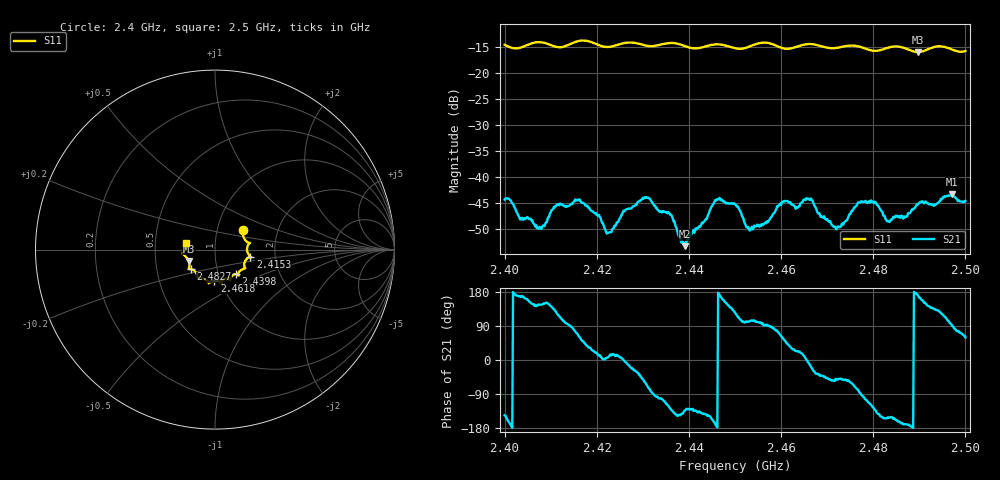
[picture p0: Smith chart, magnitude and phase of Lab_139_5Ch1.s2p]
# Hz S RI R 50
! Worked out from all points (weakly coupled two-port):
!   601 points, 2.4 GHz to 2.5 GHz, reference 50 ohm
!   highest |S21| = -43.32 dB at 2.497 GHz (marker M1); lowest = -53.3 dB at 2.4392 GHz (marker M2)
!   lowest |S11| = -15.9 dB at 2.4897 GHz (marker M3), VSWR 1.38, Z = 36.9 - j4.83 ohm
!   |S11| at or under -10 dB: start of sweep to end of sweep
!   S12 and S22 are empty: the file has one direction only
!   S11 on the Smith chart (normalised r, x): 2.4 GHz: 1.33, +0.29; 2.4153 GHz: 1.48, -0.12; 2.4398 GHz: 1.21, -0.34; 2.4618 GHz: 0.94, -0.33; 2.4827 GHz: 0.75, -0.17; 2.5 GHz: 0.72, +0.06
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2.4e9  0.1552 0.1066  -0.00504 -0.00342  0 0  0 0
2.4075e9  0.1959 0.0378  -0.00268 0.00176  0 0  0 0
2.415333e9  0.1965 -0.0391  0.00156 0.00591  0 0  0 0
2.416667e9  0.2024 -0.0431  0.00339 0.00461  0 0  0 0
2.422667e9  0.1644 -0.0723  0.00289 0.00052  0 0  0 0
2.430167e9  0.1513 -0.111  0.00371 -0.00501  0 0  0 0
2.433333e9  0.1299 -0.1341  -0.000799 -0.00472  0 0  0 0
2.436e9  0.1315 -0.1451  -0.0027 -0.00339  0 0  0 0
2.439167e9  0.1213 -0.1366  -0.00148 -0.00159  0 0  0 0
2.439833e9  0.1153 -0.1361  -0.0017 -0.00204  0 0  0 0
2.446167e9  0.0843 -0.1705  -0.00618 -0.000202  0 0  0 0
2.45e9  0.0653 -0.1619  -0.00318 0.00449  0 0  0 0
2.4535e9  0.0365 -0.1801  -0.0008 0.00312  0 0  0 0
2.461833e9  -0.00332 -0.1727  0.00452 0.00343  0 0  0 0
2.466667e9  -0.0347 -0.1878  0.00562 -0.00215  0 0  0 0
2.471667e9  -0.0662 -0.1618  0.00192 -0.00276  0 0  0 0
2.477167e9  -0.0969 -0.1519  0.000271 -0.00572  0 0  0 0
2.482667e9  -0.135 -0.109  -0.00354 -0.00175  0 0  0 0
2.483333e9  -0.14 -0.1086  -0.00336 -0.00172  0 0  0 0
2.489667e9  -0.1471 -0.0637  -0.00539 0.000814  0 0  0 0
2.497e9  -0.1702 -0.00742  -0.000402 0.00682  0 0  0 0
2.5e9  -0.1596 0.0387  0.00301 0.00508  0 0  0 0
